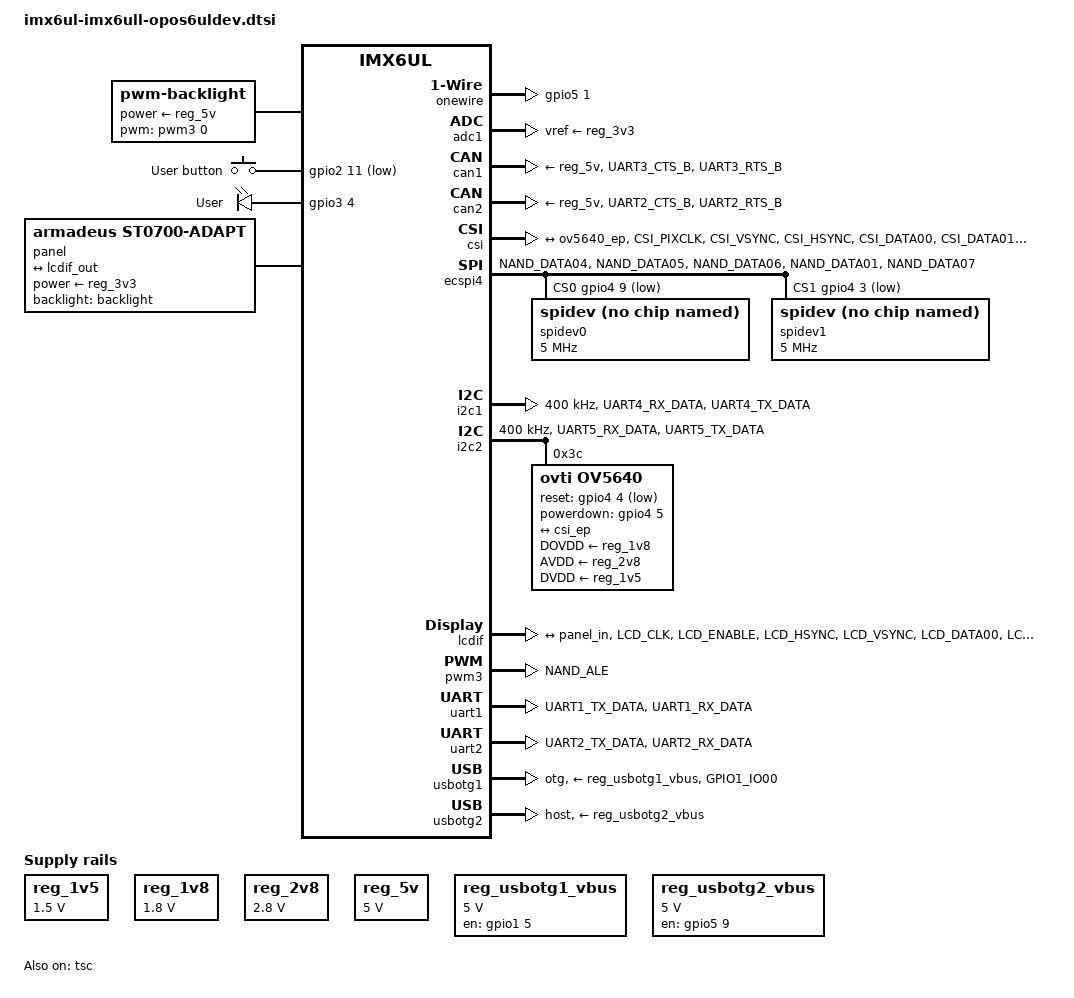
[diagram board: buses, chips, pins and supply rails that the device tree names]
// SPDX-License-Identifier: GPL-2.0 OR MIT
//
// Copyright 2019 Armadeus Systems <support@armadeus.com>

/ {
	chosen {
		stdout-path = &uart1;
	};

	backlight: backlight {
		compatible = "pwm-backlight";
		pwms = <&pwm3 0 191000>;
		brightness-levels = <0 4 8 16 32 64 128 255>;
		default-brightness-level = <7>;
		power-supply = <&reg_5v>;
		status = "okay";
	};

	gpio-keys {
		compatible = "gpio-keys";
		pinctrl-names = "default";
		pinctrl-0 = <&pinctrl_gpio_keys>;

		user-button {
			label = "User button";
			gpios = <&gpio2 11 GPIO_ACTIVE_LOW>;
			linux,code = <BTN_MISC>;
			wakeup-source;
		};
	};

	leds {
		compatible = "gpio-leds";

		user-led {
			label = "User";
			pinctrl-names = "default";
			pinctrl-0 = <&pinctrl_led>;
			gpios = <&gpio3 4 GPIO_ACTIVE_HIGH>;
			linux,default-trigger = "heartbeat";
		};
	};

	onewire {
		compatible = "w1-gpio";
		pinctrl-names = "default";
		pinctrl-0 = <&pinctrl_w1>;
		gpios = <&gpio5 1 GPIO_ACTIVE_HIGH>;
	};

	panel: panel {
		compatible = "armadeus,st0700-adapt";
		power-supply = <&reg_3v3>;
		backlight = <&backlight>;

		port {
			panel_in: endpoint {
				remote-endpoint = <&lcdif_out>;
			};
		};
	};

	reg_1v5: regulator-1v5 {
		compatible = "regulator-fixed";
		regulator-name = "1V5";
		regulator-min-microvolt = <1500000>;
		regulator-max-microvolt = <1500000>;
	};

	reg_1v8: regulator-1v8 {
		compatible = "regulator-fixed";
		regulator-name = "1V8";
		regulator-min-microvolt = <1800000>;
		regulator-max-microvolt = <1800000>;
	};

	reg_2v8: regulator-2v8 {
		compatible = "regulator-fixed";
		regulator-name = "2V8";
		regulator-min-microvolt = <2800000>;
		regulator-max-microvolt = <2800000>;
	};

	reg_5v: regulator-5v {
		compatible = "regulator-fixed";
		regulator-name = "5V";
		regulator-min-microvolt = <5000000>;
		regulator-max-microvolt = <5000000>;
	};

	reg_usbotg1_vbus: regulator-usbotg1vbus {
		compatible = "regulator-fixed";
		regulator-name = "usbotg1vbus";
		regulator-min-microvolt = <5000000>;
		regulator-max-microvolt = <5000000>;
		pinctrl-names = "default";
		pinctrl-0 = <&pinctrl_usbotg1_vbus>;
		gpio = <&gpio1 5 GPIO_ACTIVE_HIGH>;
		enable-active-high;
	};

	reg_usbotg2_vbus: regulator-usbotg2vbus {
		compatible = "regulator-fixed";
		regulator-name = "usbotg2vbus";
		regulator-min-microvolt = <5000000>;
		regulator-max-microvolt = <5000000>;
		pinctrl-names = "default";
		pinctrl-0 = <&pinctrl_usbotg2_vbus>;
		gpio = <&gpio5 9 GPIO_ACTIVE_HIGH>;
		enable-active-high;
	};
};

&adc1 {
	vref-supply = <&reg_3v3>;
	status = "okay";
};

&can1 {
	pinctrl-names = "default";
	pinctrl-0 = <&pinctrl_flexcan1>;
	xceiver-supply = <&reg_5v>;
	status = "okay";
};

&can2 {
	pinctrl-names = "default";
	pinctrl-0 = <&pinctrl_flexcan2>;
	xceiver-supply = <&reg_5v>;
	status = "okay";
};

&csi {
	pinctrl-names = "default";
	pinctrl-0 = <&pinctrl_csi>;
	status = "okay";

	port {
		csi_ep: endpoint {
			remote-endpoint = <&ov5640_ep>;
			bus-type = <5>; // V4L2_FWNODE_BUS_TYPE_PARALLEL
		};
	};
};

&ecspi4 {
	pinctrl-names = "default";
	pinctrl-0 = <&pinctrl_ecspi4>;
	cs-gpios = <&gpio4 9 GPIO_ACTIVE_LOW>, <&gpio4 3 GPIO_ACTIVE_LOW>;
	status = "okay";

	spidev0: spi@0 {
		compatible = "spidev";
		reg = <0>;
		spi-max-frequency = <5000000>;
	};

	spidev1: spi@1 {
		compatible = "spidev";
		reg = <1>;
		spi-max-frequency = <5000000>;
	};
};

&i2c1 {
	pinctrl-names = "default";
	pinctrl-0 = <&pinctrl_i2c1>;
	clock-frequency = <400000>;
	status = "okay";
};

&i2c2 {
	pinctrl-names = "default";
	pinctrl-0 = <&pinctrl_i2c2>;
	clock-frequency = <400000>;
	status = "okay";

	ov5640: camera@3c {
		compatible = "ovti,ov5640";
		reg = <0x3c>;
		pinctrl-names = "default";
		pinctrl-0 = <&pinctrl_camera>;
		clocks = <&clks IMX6UL_CLK_CSI>;
		clock-names = "xclk";
		DOVDD-supply = <&reg_1v8>;
		AVDD-supply = <&reg_2v8>;
		DVDD-supply = <&reg_1v5>;
		reset-gpios = <&gpio4 4 GPIO_ACTIVE_LOW>;
		powerdown-gpios = <&gpio4 5 GPIO_ACTIVE_HIGH>;

		port {
			ov5640_ep: endpoint {
				remote-endpoint = <&csi_ep>;
				bus-width = <8>;
				data-shift = <2>; /* lines 9:2 are used */
				hsync-active = <0>;
				vsync-active = <1>;
				pclk-sample = <0>;
			};
		};
	};
};

&lcdif {
	pinctrl-names = "default";
	pinctrl-0 = <&pinctrl_lcdif>;
	status = "okay";

	port {
		lcdif_out: endpoint {
			remote-endpoint = <&panel_in>;
		};
	};
};

&pwm3 {
	#pwm-cells = <2>;
	pinctrl-names = "default";
	pinctrl-0 = <&pinctrl_pwm3>;
	status = "okay";
};

&snvs_pwrkey {
	status = "disabled";
};

&tsc {
	pinctrl-names = "default";
	pinctrl-0 = <&pinctrl_tsc>;
	xnur-gpio = <&gpio1 3 GPIO_ACTIVE_LOW>;
	measure-delay-time = <0xffff>;
	pre-charge-time = <0xffff>;
	status = "okay";
};

&uart1 {
	pinctrl-names = "default";
	pinctrl-0 = <&pinctrl_uart1>;
	status = "okay";
};

&uart2 {
	pinctrl-names = "default";
	pinctrl-0 = <&pinctrl_uart2>;
	status = "okay";
};

&usbotg1 {
	pinctrl-names = "default";
	pinctrl-0 = <&pinctrl_usbotg1_id>;
	vbus-supply = <&reg_usbotg1_vbus>;
	dr_mode = "otg";
	disable-over-current;
	status = "okay";
};

&usbotg2 {
	vbus-supply = <&reg_usbotg2_vbus>;
	dr_mode = "host";
	disable-over-current;
	status = "okay";
};

&iomuxc {
	pinctrl-names = "default";
	pinctrl-0 = <&pinctrl_gpios>;

	pinctrl_camera: cameragrp {
		fsl,pins = <
			MX6UL_PAD_CSI_MCLK__CSI_MCLK		0x1b088
			/* RESET# */
			MX6UL_PAD_NAND_DATA02__GPIO4_IO04	0x030b0
			/* POWERDOWN */
			MX6UL_PAD_NAND_DATA03__GPIO4_IO05	0x0b0b0
		>;
	};

	pinctrl_csi: csigrp {
		fsl,pins = <
			MX6UL_PAD_CSI_PIXCLK__CSI_PIXCLK	0x1b000
			MX6UL_PAD_CSI_VSYNC__CSI_VSYNC		0x1b000
			MX6UL_PAD_CSI_HSYNC__CSI_HSYNC		0x1b000
			MX6UL_PAD_CSI_DATA00__CSI_DATA02	0x1b000
			MX6UL_PAD_CSI_DATA01__CSI_DATA03	0x1b000
			MX6UL_PAD_CSI_DATA02__CSI_DATA04	0x1b000
			MX6UL_PAD_CSI_DATA03__CSI_DATA05	0x1b000
			MX6UL_PAD_CSI_DATA04__CSI_DATA06	0x1b000
			MX6UL_PAD_CSI_DATA05__CSI_DATA07	0x1b000
			MX6UL_PAD_CSI_DATA06__CSI_DATA08	0x1b000
			MX6UL_PAD_CSI_DATA07__CSI_DATA09	0x1b000
		>;
	};

	pinctrl_ecspi4: ecspi4grp {
		fsl,pins = <
			MX6UL_PAD_NAND_DATA04__ECSPI4_SCLK	0x1b0b0
			MX6UL_PAD_NAND_DATA05__ECSPI4_MOSI	0x1b0b0
			MX6UL_PAD_NAND_DATA06__ECSPI4_MISO	0x1b0b0
			MX6UL_PAD_NAND_DATA01__GPIO4_IO03	0x1b0b0
			MX6UL_PAD_NAND_DATA07__GPIO4_IO09	0x1b0b0
		>;
	};

	pinctrl_flexcan1: flexcan1grp {
		fsl,pins = <
			MX6UL_PAD_UART3_CTS_B__FLEXCAN1_TX	0x0b0b0
			MX6UL_PAD_UART3_RTS_B__FLEXCAN1_RX	0x0b0b0
		>;
	};

	pinctrl_flexcan2: flexcan2grp {
		fsl,pins = <
			MX6UL_PAD_UART2_CTS_B__FLEXCAN2_TX	0x0b0b0
			MX6UL_PAD_UART2_RTS_B__FLEXCAN2_RX	0x0b0b0
		>;
	};

	pinctrl_gpios: gpiosgrp {
		fsl,pins = <
			MX6UL_PAD_GPIO1_IO09__GPIO1_IO09	0x0b0b0
			MX6UL_PAD_UART3_RX_DATA__GPIO1_IO25	0x0b0b0
			MX6UL_PAD_UART3_TX_DATA__GPIO1_IO24	0x0b0b0
			MX6UL_PAD_NAND_RE_B__GPIO4_IO00		0x0b0b0
			MX6UL_PAD_GPIO1_IO08__GPIO1_IO08	0x0b0b0
			MX6UL_PAD_UART1_CTS_B__GPIO1_IO18	0x0b0b0
			MX6UL_PAD_UART1_RTS_B__GPIO1_IO19	0x0b0b0
			MX6UL_PAD_NAND_WE_B__GPIO4_IO01		0x0b0b0
		>;
	};

	pinctrl_gpio_keys: gpiokeysgrp {
		fsl,pins = <
			MX6UL_PAD_ENET2_TX_DATA0__GPIO2_IO11	0x0b0b0
		>;
	};

	pinctrl_i2c1: i2c1grp {
		fsl,pins = <
			MX6UL_PAD_UART4_RX_DATA__I2C1_SDA	0x4001b8b0
			MX6UL_PAD_UART4_TX_DATA__I2C1_SCL	0x4001b8b0
		>;
	};

	pinctrl_i2c2: i2c2grp {
		fsl,pins = <
			MX6UL_PAD_UART5_RX_DATA__I2C2_SDA	0x4001b8b0
			MX6UL_PAD_UART5_TX_DATA__I2C2_SCL	0x4001b8b0
		>;
	};

	pinctrl_lcdif: lcdifgrp {
		fsl,pins = <
			MX6UL_PAD_LCD_CLK__LCDIF_CLK	    0x100b1
			MX6UL_PAD_LCD_ENABLE__LCDIF_ENABLE  0x100b1
			MX6UL_PAD_LCD_HSYNC__LCDIF_HSYNC    0x100b1
			MX6UL_PAD_LCD_VSYNC__LCDIF_VSYNC    0x100b1
			MX6UL_PAD_LCD_DATA00__LCDIF_DATA00  0x100b1
			MX6UL_PAD_LCD_DATA01__LCDIF_DATA01  0x100b1
			MX6UL_PAD_LCD_DATA02__LCDIF_DATA02  0x100b1
			MX6UL_PAD_LCD_DATA03__LCDIF_DATA03  0x100b1
			MX6UL_PAD_LCD_DATA04__LCDIF_DATA04  0x100b1
			MX6UL_PAD_LCD_DATA05__LCDIF_DATA05  0x100b1
			MX6UL_PAD_LCD_DATA06__LCDIF_DATA06  0x100b1
			MX6UL_PAD_LCD_DATA07__LCDIF_DATA07  0x100b1
			MX6UL_PAD_LCD_DATA08__LCDIF_DATA08  0x100b1
			MX6UL_PAD_LCD_DATA09__LCDIF_DATA09  0x100b1
			MX6UL_PAD_LCD_DATA10__LCDIF_DATA10  0x100b1
			MX6UL_PAD_LCD_DATA11__LCDIF_DATA11  0x100b1
			MX6UL_PAD_LCD_DATA12__LCDIF_DATA12  0x100b1
			MX6UL_PAD_LCD_DATA13__LCDIF_DATA13  0x100b1
			MX6UL_PAD_LCD_DATA14__LCDIF_DATA14  0x100b1
			MX6UL_PAD_LCD_DATA15__LCDIF_DATA15  0x100b1
			MX6UL_PAD_LCD_DATA16__LCDIF_DATA16  0x100b1
			MX6UL_PAD_LCD_DATA17__LCDIF_DATA17  0x100b1
		>;
	};

	pinctrl_led: ledgrp {
		fsl,pins = <
			MX6UL_PAD_LCD_RESET__GPIO3_IO04		0x0b0b0
		>;
	};

	pinctrl_pwm3: pwm3grp {
		fsl,pins = <
			MX6UL_PAD_NAND_ALE__PWM3_OUT		0x1b0b0
		>;
	};

	pinctrl_tsc: tscgrp {
		fsl,pins = <
			MX6UL_PAD_GPIO1_IO01__GPIO1_IO01       0xb0
			MX6UL_PAD_GPIO1_IO02__GPIO1_IO02       0xb0
			MX6UL_PAD_GPIO1_IO03__GPIO1_IO03       0xb0
			MX6UL_PAD_GPIO1_IO04__GPIO1_IO04       0xb0
		>;
	};

	pinctrl_uart1: uart1grp {
		fsl,pins = <
			MX6UL_PAD_UART1_TX_DATA__UART1_DCE_TX	0x1b0b1
			MX6UL_PAD_UART1_RX_DATA__UART1_DCE_RX	0x1b0b1
		>;
	};

	pinctrl_uart2: uart2grp {
		fsl,pins = <
			MX6UL_PAD_UART2_TX_DATA__UART2_DCE_TX	0x1b0b1
			MX6UL_PAD_UART2_RX_DATA__UART2_DCE_RX	0x1b0b1
		>;
	};

	pinctrl_usbotg1_id: usbotg1idgrp {
		fsl,pins = <
			MX6UL_PAD_GPIO1_IO00__ANATOP_OTG1_ID	0x1b0b0
		>;
	};

	pinctrl_usbotg1_vbus: usbotg1vbusgrp {
		fsl,pins = <
			MX6UL_PAD_GPIO1_IO05__GPIO1_IO05	0x1b0b0
		>;
	};
};
